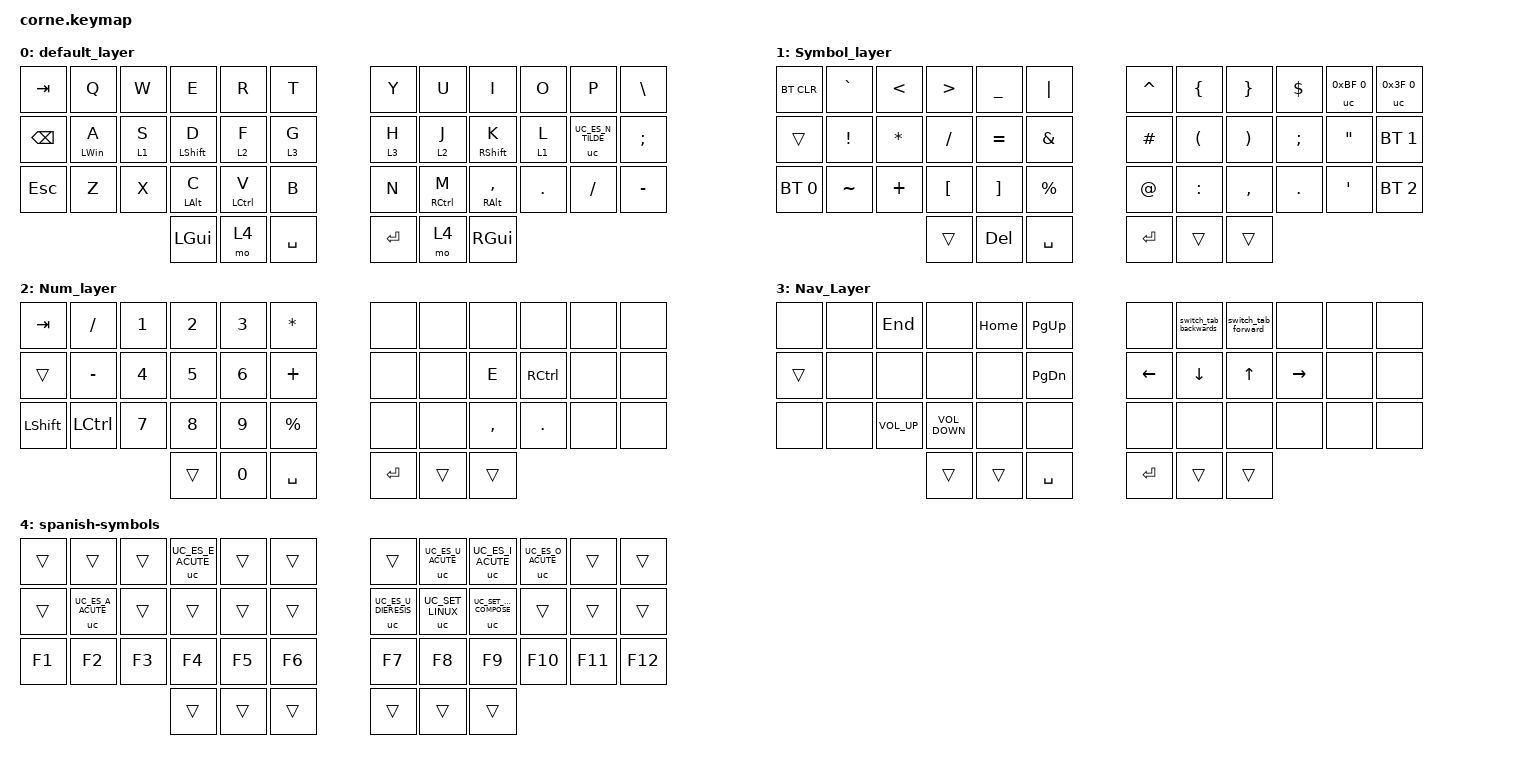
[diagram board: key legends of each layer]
/*
 * Copyright (c) 2020 The ZMK Contributors
 *
 * SPDX-License-Identifier: MIT
 */

#include "keys_es.h"
#include <behaviors/unicode.dtsi>
#include <behaviors.dtsi>
#include <dt-bindings/zmk/bt.h>
#include <dt-bindings/zmk/keys.h>

&uc {
    default-mode = <UC_MODE_LINUX>;
    minimum-length = <0>;            // Set to desired minimum input length
    win-compose-key = <RALT>;        // Overwrite WinCompose compose key
};

/ {
    behaviors {
        HMR: HMR {
            compatible = "zmk,behavior-hold-tap";
            label = "HMR";
            bindings = <&kp>, <&kp>;

            #binding-cells = <2>;
            tapping-term-ms = <200>;
            quick-tap-ms = <175>;
            flavor = "balanced";
            hold-trigger-key-positions = <0 12 24 25 13 0 1 2 3 4 5 12 13 14 15 16 17 24 25 26 27 28 29 36 37 38 39 40 41>;
            hold-trigger-on-release;
        };

        HML: HML {
            compatible = "zmk,behavior-hold-tap";
            label = "HML";
            bindings = <&kp>, <&kp>;

            #binding-cells = <2>;
            tapping-term-ms = <200>;
            quick-tap-ms = <175>;
            flavor = "balanced";
            hold-trigger-key-positions = <6 7 8 9 10 11 18 19 20 21 22 23 30 31 32 33 34 35 39 40 41 38 36 37>;
            hold-trigger-on-release;
        };

        HMR_Layer: HMR_Layer {
            compatible = "zmk,behavior-hold-tap";
            label = "HMR_LAYER";
            bindings = <&mo>, <&kp>;

            #binding-cells = <2>;
            tapping-term-ms = <200>;
            quick-tap-ms = <175>;
            flavor = "balanced";
            hold-trigger-on-release;
            hold-trigger-key-positions = <0 1 2 3 4 5 12 13 14 15 16 17 24 25 26 27 28 29 36 37 38 39 40 41>;
        };

        HML_Layer: HML_Layer {
            compatible = "zmk,behavior-hold-tap";
            label = "HML_LAYER";
            bindings = <&mo>, <&kp>;

            #binding-cells = <2>;
            tapping-term-ms = <200>;
            quick-tap-ms = <175>;
            flavor = "balanced";
            hold-trigger-on-release;
            hold-trigger-key-positions = <6 7 8 9 10 11 18 19 20 21 22 23 30 31 32 33 34 35 39 40 41 36 37 38>;
        };
    };

    macros {
        a_tilde: a_tilde {
            compatible = "zmk,behavior-macro";
            #binding-cells = <0>;
            bindings = <&kp ES_ACUTE &kp ES_A>;
            label = "A_TILDE";
        };

        e_tilde: e_tilde {
            compatible = "zmk,behavior-macro";
            #binding-cells = <0>;
            bindings = <&kp ES_ACUTE &kp ES_E>;
            label = "E_TILDE";
        };

        i_tilde: i_tilde {
            compatible = "zmk,behavior-macro";
            #binding-cells = <0>;
            bindings = <&kp ES_ACUTE &kp ES_I>;
            label = "I_TILDE";
        };

        o_tilde: o_tilde {
            compatible = "zmk,behavior-macro";
            #binding-cells = <0>;
            bindings = <&kp ES_ACUTE &kp ES_O>;
            label = "O_TILDE";
        };

        u_tilde: u_tilde {
            compatible = "zmk,behavior-macro";
            #binding-cells = <0>;
            bindings = <&kp ES_ACUTE &kp ES_U>;
            label = "U_TILDE";
        };

        u_doblepunto: u_doblepunto {
            compatible = "zmk,behavior-macro";
            #binding-cells = <0>;
            bindings = <&kp ES_UMLAUT &kp ES_U>;
            label = "U_DOBLEPUNTO";
        };

        switch_tab_forward: switch_tab_forward {
            compatible = "zmk,behavior-macro";
            #binding-cells = <0>;
            bindings = <&kp LCTRL &kp TAB>;
            label = "SWITCH_TAB_FORWARD";
        };

        switch_tab_backwards: switch_tab_backwards {
            compatible = "zmk,behavior-macro";
            #binding-cells = <0>;
            bindings = <&kp LCTRL &kp LEFT_SHIFT &kp TAB>;
            label = "SWITCH_TAB_BACKWARDS";
        };
    };

    keymap {
        compatible = "zmk,keymap";

        default_layer {
            // -----------------------------------------------------------------------------------------
            // |  TAB |  Q  |  W  |  E  |  R  |  T  |   |  Y  |  U   |  I  |  O  |  P  | BSPC |
            // | CTRL |  A  |  S  |  D  |  F  |  G  |   |  H  |  J   |  K  |  L  |  ;  |  '   |
            // | SHFT |  Z  |  X  |  C  |  V  |  B  |   |  N  |  M   |  ,  |  .  |  /  | ESC  |
            //                    | GUI | LWR | SPC |   | ENT | RSE  | ALT |

            bindings = <
&kp TAB        &kp Q            &kp W           &kp E              &kp R           &kp T             &kp Y           &kp U           &kp I                 &kp O           &kp P              &kp BACKSLASH
&kp BACKSPACE  &HML LEFT_WIN A  &HML_Layer 1 S  &HML LEFT_SHIFT D  &HML_Layer 2 F  &HML_Layer 3 G    &HMR_Layer 3 H  &HMR_Layer 2 J  &HMR RIGHT_SHIFT K    &HMR_Layer 1 L  &uc UC_ES_N_TILDE  &kp SEMI
&kp ESCAPE     &kp Z            &kp X           &HML LEFT_ALT C    &HML LCTRL V    &kp B             &kp N           &HMR RCTRL M    &HMR RIGHT_ALT COMMA  &kp DOT         &kp FSLH           &kp MINUS
                                                &kp LGUI           &mo 4           &kp SPACE         &kp RET         &mo 4           &kp RIGHT_GUI
            >;
        };

        Symbol_layer {
            // -----------------------------------------------------------------------------------------
            // |  TAB |  1  |  2  |  3  |  4  |  5  |   |  6  |  7  |  8  |  9  |  0  | BSPC |
            // | BTCLR| BT1 | BT2 | BT3 | BT4 | BT5 |   | LFT | DWN |  UP | RGT |     |      |
            // | SHFT |     |     |     |     |     |   |     |     |     |     |     |      |
            //                    | GUI |     | SPC |   | ENT |     | ALT |

            bindings = <
&bt BT_CLR    &kp GRAVE        &kp LESS_THAN  &kp GREATER_THAN  &kp UNDER          &kp PIPE         &kp CARET    &kp LEFT_BRACE        &kp RIGHT_BRACE        &kp DOLLAR     &uc 0xBF 0         &uc 0x3F 0
&trans        &kp EXCLAMATION  &kp ASTERISK   &kp SLASH         &kp EQUAL          &kp AMPERSAND    &kp HASH     &kp LEFT_PARENTHESIS  &kp RIGHT_PARENTHESIS  &kp SEMICOLON  &kp DOUBLE_QUOTES  &bt BT_SEL 1
&bt BT_SEL 0  &kp TILDE        &kp PLUS       &kp LEFT_BRACKET  &kp RIGHT_BRACKET  &kp PERCENT      &kp AT_SIGN  &kp COLON             &kp COMMA              &kp PERIOD     &kp SINGLE_QUOTE   &bt BT_SEL 2
                                              &trans            &kp DELETE         &kp SPACE        &kp RET      &trans                &trans
            >;
        };

        Num_layer {
            // -----------------------------------------------------------------------------------------
            // |  TAB |  !  |  @  |  #  |  $  |  %  |   |  ^  |  &  |  *  |  (  |  )  | BSPC |
            // | CTRL |     |     |     |     |     |   |  -  |  =  |  [  |  ]  |  \  |  `   |
            // | SHFT |     |     |     |     |     |   |  _  |  +  |  {  |  }  | "|" |  ~   |
            //                    | GUI |     | SPC |   | ENT |     | ALT |

            bindings = <
&kp TAB    &kp SLASH         &kp NUMBER_1  &kp NUMBER_2  &kp NUMBER_3  &kp ASTERISK    &none    &none   &none      &none              &none  &none
&trans     &kp MINUS         &kp NUMBER_4  &kp N5        &kp NUMBER_6  &kp PLUS        &none    &none   &kp E      &kp RIGHT_CONTROL  &none  &none
&kp LSHFT  &kp LEFT_CONTROL  &kp N7        &kp N8        &kp N9        &kp PERCENT     &none    &none   &kp COMMA  &kp PERIOD         &none  &none
                                           &trans        &kp NUMBER_0  &kp SPACE       &kp RET  &trans  &trans
            >;
        };

        Nav_Layer {
            bindings = <
&none   &none  &kp END       &none              &kp HOME  &kp PAGE_UP      &none           &switch_tab_backwards  &switch_tab_forward  &none      &none  &none
&trans  &none  &none         &none              &none     &kp PAGE_DOWN    &kp LEFT_ARROW  &kp DOWN_ARROW         &kp UP_ARROW         &kp RIGHT  &none  &none
&none   &none  &kp C_VOL_UP  &kp C_VOLUME_DOWN  &none     &none            &none           &none                  &none                &none      &none  &none
                             &trans             &trans    &kp SPACE        &kp ENTER       &trans                 &trans
            >;
        };

        spanish-symbols {
            bindings = <
&trans  &trans             &trans  &uc UC_ES_E_ACUTE  &trans  &trans    &trans                &uc UC_ES_U_ACUTE  &uc UC_ES_I_ACUTE       &uc UC_ES_O_ACUTE  &trans   &trans
&trans  &uc UC_ES_A_ACUTE  &trans  &trans             &trans  &trans    &uc UC_ES_U_DIERESIS  &uc UC_SET_LINUX   &uc UC_SET_WIN_COMPOSE  &trans             &trans   &trans
&kp F1  &kp F2             &kp F3  &kp F4             &kp F5  &kp F6    &kp F7                &kp F8             &kp F9                  &kp F10            &kp F11  &kp F12
                                   &trans             &trans  &trans    &trans                &trans             &trans
            >;
        };
    };
};
